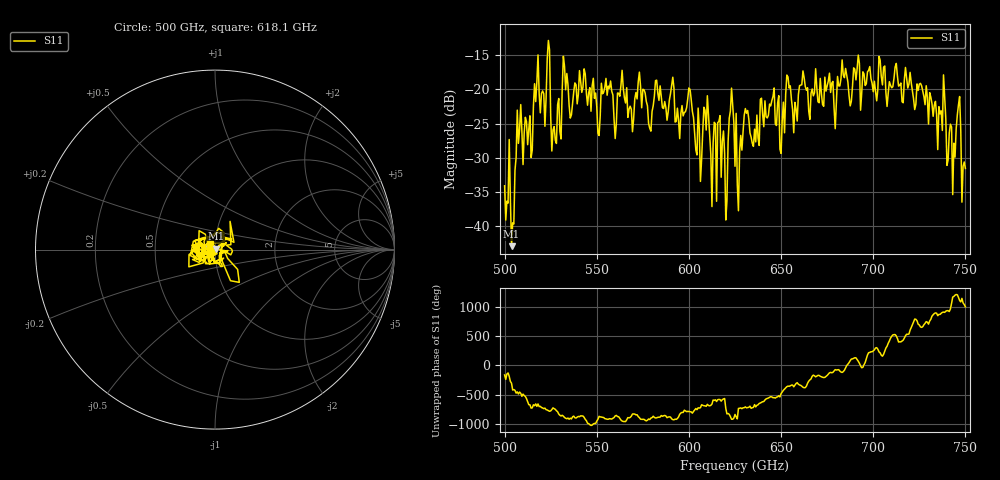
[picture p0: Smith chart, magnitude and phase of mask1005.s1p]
!Created with skrf (http://scikit-rf.org).
# GHz S MA R 50.0
!freq magS11 angS11
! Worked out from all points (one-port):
!   401 points, 500 GHz to 750 GHz, reference 50 ohm
!   lowest |S11| = -42.9 dB at 503.8 GHz (marker M1), VSWR 1.01, Z = 50.4 + j0.61 ohm
!   |S11| at or under -10 dB: start of sweep to end of sweep
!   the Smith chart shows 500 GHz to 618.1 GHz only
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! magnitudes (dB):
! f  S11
! 500 GHz  -34.1
! 503.8 GHz  -42.9
! 507.5 GHz  -27.9
! 513.8 GHz  -23.9
! 517.5 GHz  -18.9
! 523.8 GHz  -12.9
! 526.9 GHz  -25.5
! 531.2 GHz  -20.0
! 562.5 GHz  -21.0
! 578.8 GHz  -25.7
! 590.6 GHz  -19.4
! 593.8 GHz  -22.8
! 600.6 GHz  -20.0
! 605.6 GHz  -25.8
! 609.4 GHz  -26.0
! 619.4 GHz  -29.4
! 623.1 GHz  -19.8
! 625 GHz  -31.2
! 627.5 GHz  -29.1
! 631.2 GHz  -23.5
! 635 GHz  -28.3
! 656.2 GHz  -23.0
! 687.5 GHz  -22.4
! 718.8 GHz  -19.8
! 738.1 GHz  -17.9
! 741.9 GHz  -25.1
! 746.2 GHz  -22.3
! 750 GHz  -31.6
